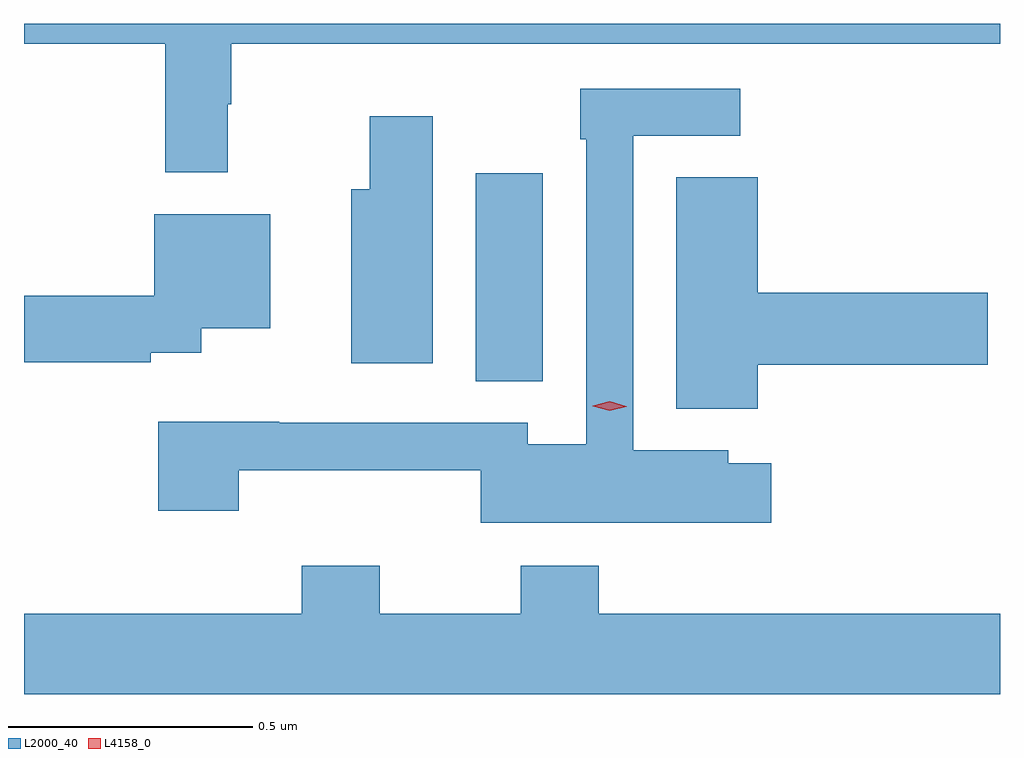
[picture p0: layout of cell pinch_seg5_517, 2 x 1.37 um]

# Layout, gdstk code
import gdstk
lib = gdstk.Library(unit=1e-6, precision=1e-09)
def R(c, l, rs):  # rectangles x0, y0, x1, y1
    for r in rs: c.add(gdstk.rectangle(r[:2], r[2:], *l))
def P(c, l, *ps):  # polygons
    for p in ps: c.add(gdstk.Polygon(p, *l))
L2000_40 = (2000, 40)
L4158_0 = (4158, 0)

pinch_seg5_517 = lib.new_cell('pinch_seg5_517')
R(pinch_seg5_517, L2000_40, [(891.29,846.745,891.427,847.171)])
P(pinch_seg5_517, L2000_40, [(890.782,847.313),(890.789,847.313),(890.789,847.436),(892.364,847.436),(892.364,847.477),(890.364,847.477),(890.364,847.436),(890.653,847.436),(890.653,847.173),(890.782,847.173)],
  [(891.895,846.577),(891.807,846.577),(891.807,846.604),(891.612,846.604),(891.612,847.248),(891.832,847.248),(891.832,847.344),(891.504,847.344),(891.504,847.241),(891.516,847.241),(891.516,846.616),(891.396,846.616),(891.396,846.66),(890.887,846.66),(890.887,846.662),(890.639,846.662),(890.639,846.48),(890.804,846.48),(890.804,846.563),(891.3,846.563),(891.3,846.455),(891.895,846.455)],
  [(891.202,847.288),(891.073,847.288),(891.073,847.138),(891.035,847.138),(891.035,846.782),(891.202,846.782)],
  [(891.868,846.779),(892.339,846.779),(892.339,846.926),(891.868,846.926),(891.868,847.163),(891.701,847.163),(891.701,846.689),(891.868,846.689)],
  [(890.624,846.803),(890.727,846.803),(890.727,846.854),(890.869,846.854),(890.869,847.087),(890.631,847.087),(890.631,846.92),(890.364,846.92),(890.364,846.784),(890.624,846.784)],
  [(892.364,846.268),(891.542,846.268),(891.542,846.367),(891.382,846.367),(891.382,846.268),(891.093,846.268),(891.093,846.367),(890.933,846.367),(890.933,846.268),(890.364,846.268),(890.364,846.104),(892.364,846.104)])
P(pinch_seg5_517, L4158_0, [(891.564,846.684),(891.529,846.694),(891.529,846.695),(891.529,846.695),(891.564,846.704),(891.598,846.694),(891.599,846.693),(891.598,846.693)])

lib.write_gds('pinch_seg5_517.gds')
